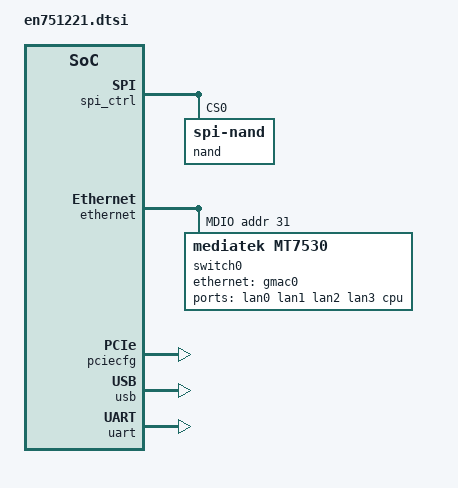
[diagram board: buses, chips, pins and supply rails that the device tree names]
// SPDX-License-Identifier: (GPL-2.0-only OR BSD-2-Clause)

#include <dt-bindings/reset/econet,en751221-scu.h>
#include <dt-bindings/clock/econet,en751221-scu.h>

/dts-v1/;

/ {
	compatible = "econet,en751221";
	#address-cells = <1>;
	#size-cells = <1>;

	hpt_clock: clock {
		compatible = "fixed-clock";
		#clock-cells = <0>;
		clock-frequency = <200000000>;  /* 200 MHz */
	};

	cpus: cpus {
		#address-cells = <1>;
		#size-cells = <0>;

		cpu@0 {
			device_type = "cpu";
			compatible = "mips,mips34Kc";
			reg = <0>;
		};
	};

	cpuintc: interrupt-controller {
		compatible = "mti,cpu-interrupt-controller";
		interrupt-controller;
		#address-cells = <0>;
		#interrupt-cells = <1>;
	};

	spi_ctrl: spi_controller@1fa10000 {
		compatible = "airoha,en7523-spi";
		reg = <0x1fa10000 0x140>;
		#address-cells = <1>;
		#size-cells = <0>;
		spi-rx-bus-width = <2>;
		spi-tx-bus-width = <2>;

		nand: nand@0 {
			compatible = "spi-nand";
			reg = <0>;
			nand-ecc-engine = <&nand>;
		};
	};

	chip_scu: syscon@1fa20000 {
		compatible = "econet,en751221-chip-scu", "syscon";
		reg = <0x1fa20000 0x388>;
	};

	pcie_phy1: pcie-phy@1fac0000 {
		compatible = "econet,en751221-pcie-gen2";
		reg = <0x1fac0000 0x1000>;
		#phy-cells = <0>;
	};

	pcie_phy0: pcie-phy@1faf2000 {
		compatible = "econet,en751221-pcie-gen1";
		reg = <0x1faf2000 0x1000>;
		#phy-cells = <0>;
	};

	intc: interrupt-controller@1fb40000 {
		compatible = "econet,en751221-intc";
		reg = <0x1fb40000 0x100>;
		interrupt-parent = <&cpuintc>;
		interrupts = <2>;

		interrupt-controller;
		#interrupt-cells = <1>;
		econet,shadow-interrupts = <7 2>, <8 3>, <13 12>, <30 29>;
	};

	scuclk: clock-controller@1fb00000 {
		compatible = "econet,en751221-scu", "syscon";
		reg = <0x1fb00000 0x970>;
		#clock-cells = <1>;
		#reset-cells = <1>;
	};

	ethernet: ethernet@1fb50000 {
		compatible = "econet,en751221-eth";
		reg = <0x1fb50000 0x10000>;

		resets = <&scuclk EN751221_FE_RST>,
			 <&scuclk EN751221_FE_QDMA1_RST>,
			 <&scuclk EN751221_FE_QDMA2_RST>,
			 <&scuclk EN751221_GSW_RST>,
			 <&scuclk EN751221_XPON_MAC_RST>,
			 <&scuclk EN751221_XPON_PHY_RST>;
		reset-names = "fe", "qdma0", "qdma1", "gsw",
			      "xpon-mac", "xpon-phy";

		#address-cells = <1>;
		#size-cells = <0>;

		interrupt-parent = <&intc>;
		interrupts = <21>, <22>;

		gmac0: mac@0 {
			compatible = "econet,eth-mac";
			reg = <0>;
			phy-mode = "trgmii";
			status = "disabled";

			fixed-link {
				speed = <1000>;
				full-duplex;
				pause;
			};
		};

		gmac1: mac@1 {
			compatible = "econet,eth-mac";
			reg = <1>;
			status = "disabled";
			phy-mode = "rgmii-rxid";
		};

		 mdio: mdio-bus {
			#address-cells = <1>;
			#size-cells = <0>;

			switch0: switch@1f {
				compatible = "mediatek,mt7530";
				#address-cells = <1>;
				#size-cells = <0>;
				reg = <0x1f>;
				mediatek,mcm;
				reset-names = "mcm";

				ports {
					#address-cells = <1>;
					#size-cells = <0>;
					reg = <0>;

					port@0 {
						status = "disabled";
						reg = <0>;
						label = "lan0";
					};

					port@1 {
						status = "disabled";
						reg = <1>;
						label = "lan1";
					};

					port@2 {
						status = "disabled";
						reg = <2>;
						label = "lan2";
					};

					port@3 {
						status = "disabled";
						reg = <3>;
						label = "lan3";
					};

					port@6 {
						reg = <6>;
						label = "cpu";
						ethernet = <&gmac0>;
						phy-mode = "trgmii";

						fixed-link {
							speed = <1000>;
							full-duplex;
						};
					};
				};
			};
		};
	};

	pciecfg: pciecfg@1fb80000 {
		compatible = "mediatek,generic-pciecfg", "syscon";
		reg = <0x1fb80000 0x1000>;
	};

	pcie0: pcie@1fb81000 {
		compatible = "econet,en7528-pcie";
		device_type = "pci";
		reg = <0x1fb81000 0x1000>;
		reg-names = "port0";
		linux,pci-domain = <0>;
		#address-cells = <3>;
		#size-cells = <2>;
		interrupt-parent = <&intc>;
		interrupts = <23>;
		interrupt-names = "pcie_irq";
		clocks = <&scuclk EN751221_CLK_PCIE>;
		clock-names = "sys_ck0";
		phys = <&pcie_phy0>;
		phy-names = "pcie-phy0";
		bus-range = <0x00 0xff>;
		ranges = <0x01000000 0 0x00000000 0x1f600000 0 0x00008000>,
			 <0x82000000 0 0x20000000 0x20000000 0 0x08000000>;
		status = "disabled";

		#interrupt-cells = <1>;
		interrupt-map-mask = <0 0 0 7>;
		interrupt-map = <0 0 0 1 &pcie_intc0 0>,
				<0 0 0 2 &pcie_intc0 1>,
				<0 0 0 3 &pcie_intc0 2>,
				<0 0 0 4 &pcie_intc0 3>;

		pcie_intc0: interrupt-controller {
			interrupt-controller;
			#address-cells = <0>;
			#interrupt-cells = <1>;
		};

		slot0: pcie@0,0 {
			reg = <0x0000 0 0 0 0>;
			device_type = "pci";
			#address-cells = <3>;
			#size-cells = <2>;
			ranges;
		};
	};

	pcie1: pcie@1fb83000 {
		compatible = "econet,en7528-pcie";
		device_type = "pci";
		reg = <0x1fb83000 0x1000>;
		reg-names = "port1";
		linux,pci-domain = <1>;
		#address-cells = <3>;
		#size-cells = <2>;
		interrupt-parent = <&intc>;
		interrupts = <24>;
		interrupt-names = "pcie_irq";
		clocks = <&scuclk EN751221_CLK_PCIE>;
		clock-names = "sys_ck1";
		phys = <&pcie_phy1>;
		phy-names = "pcie-phy1";
		bus-range = <0x00 0xff>;
		ranges = <0x81000000 0 0x00000000 0x1f608000 0 0x00008000>,
			 <0x82000000 0 0x28000000 0x28000000 0 0x08000000>;
		status = "disabled";

		#interrupt-cells = <1>;
		interrupt-map-mask = <0 0 0 7>;
		interrupt-map = <0 0 0 1 &pcie_intc1 0>,
				<0 0 0 2 &pcie_intc1 1>,
				<0 0 0 3 &pcie_intc1 2>,
				<0 0 0 4 &pcie_intc1 3>;

		pcie_intc1: interrupt-controller {
			interrupt-controller;
			#address-cells = <0>;
			#interrupt-cells = <1>;
		};

		slot1: pcie@1,0 {
			reg = <0x0800 0 0 0 0>;
			#address-cells = <3>;
			#size-cells = <2>;
			ranges;
		};
	};

    usb: usb@1fb90000 {
            compatible = "mediatek,mt8173-xhci", "mediatek,mtk-xhci";
            reg = <0x1fb90000 0x4000>,
                  <0x1fa80700 0x100>;
            reg-names = "mac", "ippc";

            #address-cells = <1>;
            #size-cells = <0>;

            interrupt-parent = <&intc>;
            interrupts = <17>;
            usb3-lpm-capable;
    };

	uart: serial@1fbf0000 {
		compatible = "ns16550";
		reg = <0x1fbf0000 0x30>;
		reg-io-width = <4>;
		reg-shift = <2>;
		interrupt-parent = <&intc>;
		interrupts = <0>;
		/*
		 * Conversion of baud rate to clock frequency requires a
		 * computation that is not in the ns16550 driver, so this
		 * uart is fixed at 115200 baud.
		 */
		clock-frequency = <1843200>;
	};

	gpio0: gpio@1fbf0200 {
		compatible = "airoha,en7523-gpio";
		reg = <0x1fbf0204 0x4>,
		      <0x1fbf0200 0x4>,
		      <0x1fbf0220 0x4>,
		      <0x1fbf0214 0x4>;
		gpio-controller;
		#gpio-cells = <2>;
	};

	gpio1: gpio@1fbf0270 {
		compatible = "airoha,en7523-gpio";
		reg = <0x1fbf0270 0x4>,
		      <0x1fbf0260 0x4>,
		      <0x1fbf0264 0x4>,
		      <0x1fbf0278 0x4>;
		gpio-controller;
		#gpio-cells = <2>;
	};

	timer_hpt: timer@1fbf0400 {
		compatible = "econet,en751221-timer";
		reg = <0x1fbf0400 0x100>;

		interrupt-parent = <&intc>;
		interrupts = <30>;
		clocks = <&hpt_clock>;
	};
};
